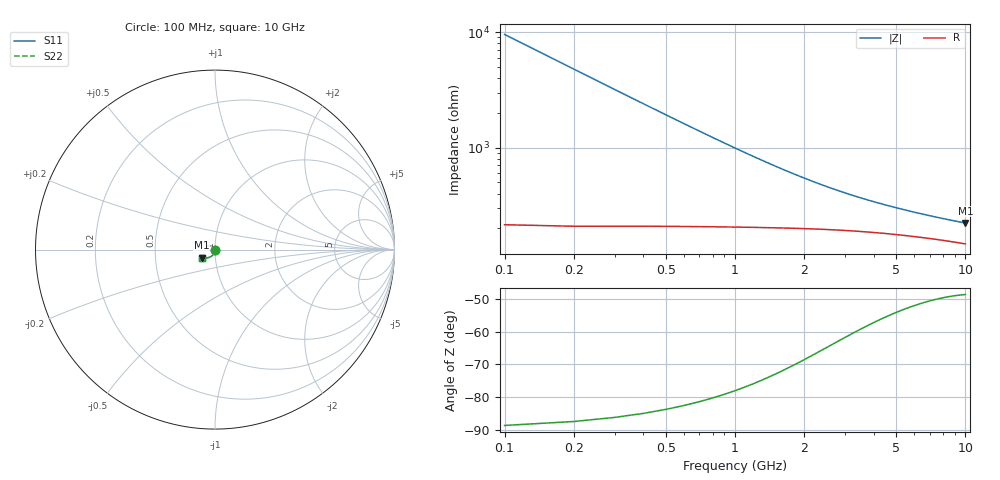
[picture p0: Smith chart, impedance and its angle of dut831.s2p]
! Touchstone file exported from HFSS 2024.1.0
!  File:  C:/UserFiles/LocalFiles/RDL_TSV_Batchsim/temp_TSV1_831_1779879275.aedt
!  Generated:  06:59:25 PM May 27, 2026
!  Design:  TSV1
!  Project:  temp_TSV1_831_1779879275
!  Setup:  Setup1
!  Solution:  Sweep
! Variables:
!  dtsv = 14.84um
!  hbump = 3um
!  htsv = 92.39um
!  lrdl = 252.1521522um
!  p = 40
!  p1 = 42.82um
!  t = 500um
!  trdl = 3um
!  wrdl = 24.89489489um
# GHz S MA R 50.000000
! Terminal data exported
! Port[1] = TSV22_T1
! Port[2] = TSV22_T2
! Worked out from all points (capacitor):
!   100 points, 100 MHz to 10 GHz, reference 50 ohm
!   read as one part in shunt: C = 167 fF near 100 MHz
!   lowest |Z| = 222 ohm at 10 GHz (marker M1)
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0.1  0.002273 -89.2  0.9998 -0.2  0.9998 -0.2  0.002273 -89.2
! Gamma 0 0 0 0
! Port Impedance 50 0 50 0
0.2  0.004549 -91.7  0.9996 -0.3  0.9996 -0.3  0.004549 -91.7
0.3  0.006823 -93.5  0.9993 -0.5  0.9993 -0.5  0.006823 -93.5
0.4  0.009086 -95.2  0.9989 -0.7  0.9989 -0.7  0.009086 -95.2
0.5  0.01133 -96.8  0.9983 -0.8  0.9983 -0.8  0.01133 -96.8
0.6  0.01354 -98.4  0.9977 -1.0  0.9977 -1.0  0.01354 -98.4
0.7  0.01571 -100.0  0.997 -1.1  0.997 -1.1  0.01571 -100.0
0.8  0.01785 -101.5  0.9961 -1.3  0.9961 -1.3  0.01785 -101.5
0.9  0.01995 -103.0  0.9953 -1.4  0.9953 -1.4  0.01995 -103.0
1.1  0.02399 -105.8  0.9933 -1.7  0.9933 -1.7  0.02399 -105.8
1.4  0.02968 -109.8  0.9899 -2.1  0.9899 -2.1  0.02968 -109.8
1.6  0.03319 -112.2  0.9875 -2.3  0.9875 -2.3  0.03319 -112.2
1.8  0.03649 -114.6  0.9849 -2.6  0.9849 -2.6  0.03649 -114.6
2.1  0.04103 -117.8  0.9811 -2.9  0.9811 -2.9  0.04103 -117.8
2.5  0.04639 -121.6  0.9761 -3.2  0.9761 -3.2  0.04639 -121.6
2.9  0.05104 -124.9  0.9714 -3.5  0.9714 -3.5  0.05104 -124.9
3.4  0.05603 -128.5  0.9659 -3.8  0.9659 -3.8  0.05603 -128.5
4.2  0.06254 -133.2  0.9582 -4.2  0.9582 -4.2  0.06254 -133.2
5.1  0.06829 -137.2  0.9511 -4.6  0.9511 -4.6  0.06829 -137.2
6.7  0.07589 -142.4  0.9413 -5.2  0.9413 -5.2  0.07589 -142.4
8.4  0.08167 -146.3  0.9337 -5.8  0.9337 -5.8  0.08167 -146.3
10  0.08576 -149.0  0.9284 -6.3  0.9284 -6.3  0.08576 -149.0
